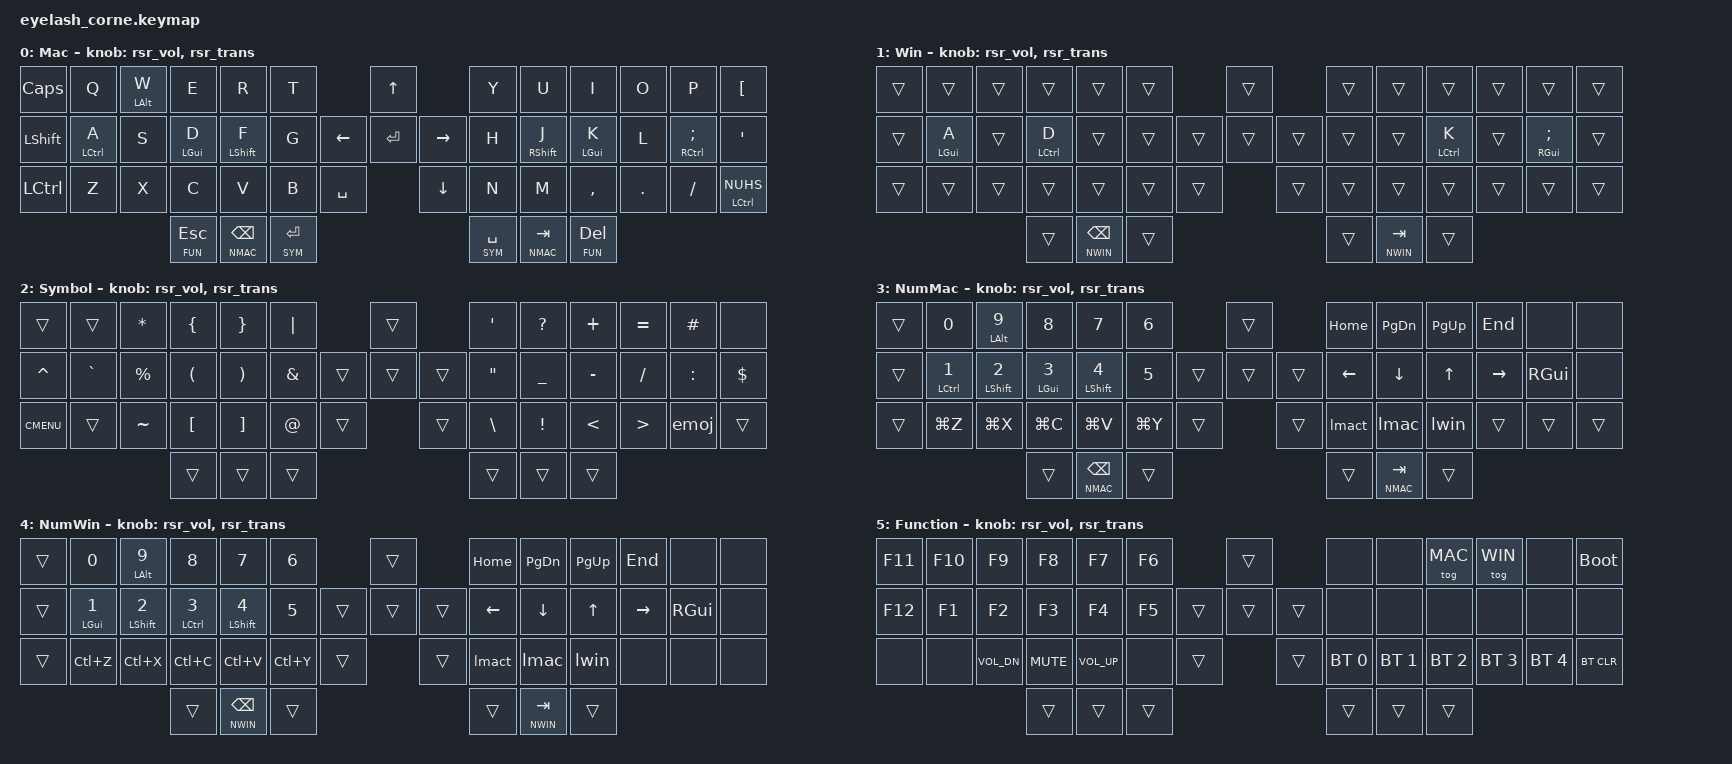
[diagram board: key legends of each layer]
#define ZMK_POINTING_DEFAULT_MOVE_VAL 1200  // 600
#define ZMK_POINTING_DEFAULT_SCRL_VAL 25   // 10

#include <input/processors.dtsi>
#include <zephyr/dt-bindings/input/input-event-codes.h>
#include <behaviors.dtsi>
#include <behaviors/runtime-sensor-rotate.dtsi>
#include <dt-bindings/zmk/bt.h>
#include <dt-bindings/zmk/keys.h>
#include <dt-bindings/zmk/outputs.h>
#include <dt-bindings/zmk/pointing.h>
#include <dt-bindings/zmk/rgb.h>

// Layer definition
#define MAC    0
#define WIN    1
#define SYM    2
#define NMAC   3
#define NWIN   4
#define FUN    5

&soft_off { hold-time-ms = <2000>; };

// Global override for the built-in layer-tap (&lt) behavior
&lt {
    flavor = "balanced";
    tapping-term-ms = <200>;
    quick-tap-ms = <175>;
    require-prior-idle-ms = <150>;
};

/ {
    behaviors {
        td0: td0 {
            compatible = "zmk,behavior-tap-dance";
            display-name = "Shift/Caps Lock Tap Dance";
            #binding-cells = <0>;
            bindings = <&kp LEFT_SHIFT>, <&kp CAPS>;
        };

        rsr_vol: rsr_vol {
            compatible = "zmk,behavior-runtime-sensor-rotate";
            #sensor-binding-cells = <0>;
            tap-ms = <5>;
            cw-binding = <&kp C_VOL_UP>;
            ccw-binding = <&kp C_VOL_DN>;
        };

        rsr_trans: rsr_trans {
            compatible = "zmk,behavior-runtime-sensor-rotate";
            #sensor-binding-cells = <0>;
            tap-ms = <0>;
        };

        hml: home_row_mod_left {
            compatible = "zmk,behavior-hold-tap";
            #binding-cells = <2>;
            flavor = "balanced";
            require-prior-idle-ms = <150>;
            tapping-term-ms = <200>;
            quick-tap-ms = <175>;
            bindings = <&kp>, <&kp>;
            hold-trigger-key-positions = <7 8 9 10 11 12   22 23 24 25 26 27   36 37 38 39 40 41   43 44   45 46 47>; // keys on the right side of the keyboard + BKSP (43) and RET (44) keys
            hold-trigger-on-release;
        };

        hmr: home_row_mod_right {
            compatible = "zmk,behavior-hold-tap";
            #binding-cells = <2>;
            flavor = "balanced";
            require-prior-idle-ms = <150>;
            tapping-term-ms = <200>;
            quick-tap-ms = <175>;
            bindings = <&kp>, <&kp>;
            hold-trigger-key-positions = <0 1 2 3 4 5   13 14 15 16 17 18   28 29 30 31 32 33   42 43 44>; // keys on the left side of the keyboard
            hold-trigger-on-release;
        };

        ltsp: layer_tap_space {
            compatible = "zmk,behavior-hold-tap";
            #binding-cells = <2>;
            flavor = "balanced";
            tapping-term-ms = <175>;
            quick-tap-ms = <175>;
            require-prior-idle-ms = <120>;
            bindings = <&mo>, <&kp>;
        };
    };

// ┌──────────────┬──────────────┬──────────────┬──────────────┬──────────────┬──────────────┐                                           ┌──────────────┬──────────────┬──────────────┬──────────────┬──────────────┬──────────────┐
// │       0      │       1      │       2      │       3      │       4      │       5      │                    6                      │       7      │       8      │       9      │      10      │      11      │      12      │
// ├──────────────┼──────────────┼──────────────┼──────────────┼──────────────┼──────────────┤                                           ├──────────────┼──────────────┼──────────────┼──────────────┼──────────────┼──────────────┤
// │      13      │      14      │      15      │      16      │      17      │      18      │              19   20   21                 │      22      │      23      │      24      │      25      │      26      │      27      │
// ├──────────────┼──────────────┼──────────────┼──────────────┼──────────────┼──────────────┤                                           ├──────────────┼──────────────┼──────────────┼──────────────┼──────────────┼──────────────┤
// │      28      │      29      │      30      │      31      │      32      │      33      │        34         35                      │      36      │      37      │      38      │      39      │      40      │      41      │
// └──────────────┴──────────────┴──────────────┼──────────────┼──────────────┼──────────────┤                                           ├──────────────┼──────────────┼──────────────┼──────────────┴──────────────┴──────────────┘
//                                              │      42      │      43      │      44      │                                           │      45      │      46      │      47      │
//                                              └──────────────┴──────────────┴──────────────┘                                           └──────────────┴──────────────┴──────────────┘

   combos {
        compatible = "zmk,combos";

        softoff {
            bindings = <&soft_off>;
            key-positions = <1 15 29>;  // Q + S + Z
        };
    };

    macros {
        lwin: lang_win {
            compatible = "zmk,behavior-macro";
            #binding-cells = <0>;
            wait-ms = <10>;
            bindings
                = <&macro_press &kp LSHFT>
                , <&macro_press &kp LALT>
                , <&macro_wait_time 200>
                , <&macro_release &kp LSHFT>
                , <&macro_release &kp LALT>
                ;
        };

        lmac: lang_mac {
            compatible = "zmk,behavior-macro";
            #binding-cells = <0>;
            wait-ms = <10>;
            bindings
                = <&macro_press &kp LGUI>
                , <&macro_press &kp LALT>
                , <&macro_press &kp SPACE>
                , <&macro_wait_time 100>
                , <&macro_release &kp LGUI>
                , <&macro_release &kp LALT>
                , <&macro_release &kp SPACE>
                ;
        };

        lmact: lang_mac_term {
            compatible = "zmk,behavior-macro";
            #binding-cells = <0>;
            wait-ms = <10>;
            bindings
                = <&macro_press &kp LCTRL>
                , <&macro_press &kp LALT>
                , <&macro_press &kp SPACE>
                , <&macro_wait_time 100>
                , <&macro_release &kp LCTRL>
                , <&macro_release &kp LALT>
                , <&macro_release &kp SPACE>
                ;
        };

        emoj: emoji_mac {
            compatible = "zmk,behavior-macro";
            #binding-cells = <0>;
            wait-ms = <10>;
            bindings
                = <&macro_press &kp LGUI>
                , <&macro_press &kp LCTRL>
                , <&macro_press &kp SPACE>
                , <&macro_wait_time 100>
                , <&macro_release &kp LGUI>
                , <&macro_release &kp LCTRL>
                , <&macro_release &kp SPACE>
                ;
        };
    };

    keymap {
        compatible = "zmk,keymap";

        default_layer { // 0: MAC
            display-name = "Mac";
            bindings = <
// ┌──────────────┬──────────────┬──────────────┬──────────────┬──────────────┬──────────────┐                                           ┌──────────────┬──────────────┬──────────────┬──────────────┬──────────────┬──────────────┐
// │     Caps     │       Q      │    W (Alt)   │       E      │       R      │       T      │                                           │       Y      │       U      │       I      │       O      │       P      │       [      │
// └──────────────┴──────────────┴──────────────┴──────────────┴──────────────┴──────────────┘                                           └──────────────┴──────────────┴──────────────┴──────────────┴──────────────┴──────────────┘
      &kp CAPS         &kp Q       &hml LALT W        &kp E          &kp R          &kp T                      &kp UP                          &kp Y          &kp U          &kp I          &kp O          &kp P        &kp LBKT
// ┌──────────────┬──────────────┬──────────────┬──────────────┬──────────────┬──────────────┐                                           ┌──────────────┬──────────────┬──────────────┬──────────────┬──────────────┬──────────────┐
// │    LShift    │   A (LCtrl)  │       S      │   D (LGui)   │  F (LShift)  │       G      │                                           │       H      │  J (RShift)  │   K (LGui)   │       L      │   ; (RCtrl)  │       '      │
// └──────────────┴──────────────┴──────────────┴──────────────┴──────────────┴──────────────┘                                           └──────────────┴──────────────┴──────────────┴──────────────┴──────────────┴──────────────┘
      &kp LSHFT    &hml LCTRL A        &kp S      &hml LGUI D    &hml LSHFT F       &kp G            &kp LEFT  &kp ENTER  &kp RIGHT            &kp H      &hmr RSHFT J   &hmr LGUI K        &kp L    &hmr RCTRL SEMI     &kp SQT
// ┌──────────────┬──────────────┬──────────────┬──────────────┬──────────────┬──────────────┐                                           ┌──────────────┬──────────────┬──────────────┬──────────────┬──────────────┬──────────────┐
// │    LCtrl     │       Z      │       X      │       C      │       V      │       B      │                                           │       N      │       M      │       ,      │       .      │       /      │   # (Ctrl)   │
// └──────────────┴──────────────┴──────────────┴──────────────┴──────────────┴──────────────┘                                           └──────────────┴──────────────┴──────────────┴──────────────┴──────────────┴──────────────┘
      &kp LCTRL        &kp Z           &kp X          &kp C          &kp V          &kp B        &kp SPACE     &kp DOWN                        &kp N          &kp M        &kp COMMA       &kp DOT        &kp FSLH   &mt LCTRL NUHS
//                                              ┌──────────────┬──────────────┬──────────────┐                                           ┌──────────────┬──────────────┬──────────────┐
//                                              │  Esc (FUN)   │  Bksp (NMAC) │  Enter (SYM) │                                           │  Space (SYM) │  Tab (NMAC)  │   Del (FUN)  │
//                                              └──────────────┴──────────────┴──────────────┘                                           └──────────────┴──────────────┴──────────────┘
                                                  &lt FUN ESC   &lt NMAC BSPC    &lt SYM RET                                             &ltsp SYM SPACE  &lt NMAC TAB    &lt FUN DEL
            >;
            sensor-bindings = <&rsr_vol &rsr_trans>;
        };

        win_layer { // 1: WIN
            display-name = "Win";
            bindings = <
// ┌──────────────┬──────────────┬──────────────┬──────────────┬──────────────┬──────────────┐                                           ┌──────────────┬──────────────┬──────────────┬──────────────┬──────────────┬──────────────┐
// │       ⌄      │       ⌄      │       ⌄      │       ⌄      │       ⌄      │       ⌄      │                                           │       ⌄      │       ⌄      │       ⌄      │       ⌄      │       ⌄      │       ⌄      │
// └──────────────┴──────────────┴──────────────┴──────────────┴──────────────┴──────────────┘                                           └──────────────┴──────────────┴──────────────┴──────────────┴──────────────┴──────────────┘
        &trans         &trans         &trans         &trans         &trans         &trans                      &trans                         &trans         &trans         &trans         &trans         &trans         &trans
// ┌──────────────┬──────────────┬──────────────┬──────────────┬──────────────┬──────────────┐                                           ┌──────────────┬──────────────┬──────────────┬──────────────┬──────────────┬──────────────┐
// │       ⌄      │   A (LGui)   │       ⌄      │  D (LCtrl)   │       ⌄      │       ⌄      │                                           │       ⌄      │       ⌄      │  K (LCtrl)   │       ⌄      │   ; (RGui)   │       ⌄      │
// └──────────────┴──────────────┴──────────────┴──────────────┴──────────────┴──────────────┘                                           └──────────────┴──────────────┴──────────────┴──────────────┴──────────────┴──────────────┘
        &trans      &hml LGUI A       &trans      &hml LCTRL D      &trans         &trans             &trans   &trans   &trans                &trans         &trans      &hmr LCTRL K      &trans     &hmr RGUI SEMI     &trans
// ┌──────────────┬──────────────┬──────────────┬──────────────┬──────────────┬──────────────┐                                           ┌──────────────┬──────────────┬──────────────┬──────────────┬──────────────┬──────────────┐
// │       ⌄      │       ⌄      │       ⌄      │       ⌄      │       ⌄      │       ⌄      │                                           │       ⌄      │       ⌄      │       ⌄      │       ⌄      │       ⌄      │       ⌄      │
// └──────────────┴──────────────┴──────────────┴──────────────┴──────────────┴──────────────┘                                           └──────────────┴──────────────┴──────────────┴──────────────┴──────────────┴──────────────┘
        &trans         &trans         &trans         &trans         &trans         &trans        &trans        &trans                         &trans         &trans         &trans         &trans         &trans         &trans
//                                              ┌──────────────┬──────────────┬──────────────┐                                           ┌──────────────┬──────────────┬──────────────┐
//                                              │       ⌄      │  Bksp (NWIN) │       ⌄      │                                           │       ⌄      │   Tab (NWIN) │       ⌄      │
//                                              └──────────────┴──────────────┴──────────────┘                                           └──────────────┴──────────────┴──────────────┘
                                                     &trans     &lt NWIN BSPC      &trans                                                     &trans      &lt NWIN TAB      &trans
            >;
            sensor-bindings = <&rsr_vol &rsr_trans>;
        };

        symbol_layer { // 2: SYM
            display-name = "Symbol";
            bindings = <
// ┌──────────────┬──────────────┬──────────────┬──────────────┬──────────────┬──────────────┐                                           ┌──────────────┬──────────────┬──────────────┬──────────────┬──────────────┬──────────────┐
// │       ⌄      │       ⌄      │       *      │       {      │       }      │       |      │                                           │       '      │       ?      │       +      │       =      │       #      │    (none)    │
// └──────────────┴──────────────┴──────────────┴──────────────┴──────────────┴──────────────┘                                           └──────────────┴──────────────┴──────────────┴──────────────┴──────────────┴──────────────┘
        &trans         &trans        &kp STAR       &kp LBRC       &kp RBRC       &kp PIPE                      &trans                        &kp SQT      &kp QMARK       &kp PLUS       &kp EQUAL      &kp POUND        &none
// ┌──────────────┬──────────────┬──────────────┬──────────────┬──────────────┬──────────────┐                                           ┌──────────────┬──────────────┬──────────────┬──────────────┬──────────────┬──────────────┐
// │       ^      │       `      │       %      │       (      │       )      │       &      │                                           │       "      │       _      │       -      │       /      │       :      │       $      │
// └──────────────┴──────────────┴──────────────┴──────────────┴──────────────┴──────────────┘                                           └──────────────┴──────────────┴──────────────┴──────────────┴──────────────┴──────────────┘
       &kp CARET     &kp GRAVE      &kp PRCNT       &kp LPAR       &kp RPAR       &kp AMPS            &trans   &trans   &trans               &kp DQT      &kp UNDER       &kp MINUS      &kp FSLH       &kp COLON      &kp DLLR
// ┌──────────────┬──────────────┬──────────────┬──────────────┬──────────────┬──────────────┐                                           ┌──────────────┬──────────────┬──────────────┬──────────────┬──────────────┬──────────────┐
// │     menu     │       ⌄      │       ~      │       [      │       ]      │       @      │                                           │       \      │       !      │       <      │       >      │    (emoji)   │       ⌄      │
// └──────────────┴──────────────┴──────────────┴──────────────┴──────────────┴──────────────┘                                           └──────────────┴──────────────┴──────────────┴──────────────┴──────────────┴──────────────┘
     &kp K_CMENU       &trans       &kp TILDE       &kp LBKT       &kp RBKT        &kp AT        &trans        &trans                        &kp BSLH       &kp EXCL        &kp LT         &kp GT          &emoj         &trans
//                                              ┌──────────────┬──────────────┬──────────────┐                                           ┌──────────────┬──────────────┬──────────────┐
//                                              │       ⌄      │       ⌄      │       ⌄      │                                           │       ⌄      │       ⌄      │       ⌄      │
//                                              └──────────────┴──────────────┴──────────────┘                                           └──────────────┴──────────────┴──────────────┘
                                                     &trans         &trans         &trans                                                     &trans         &trans         &trans
            >;
            sensor-bindings = <&rsr_vol &rsr_trans>;
        };

        num_mac_layer { // 3: NMAC
            display-name = "NumMac";
            bindings = <
// ┌──────────────┬──────────────┬──────────────┬──────────────┬──────────────┬──────────────┐                                           ┌──────────────┬──────────────┬──────────────┬──────────────┬──────────────┬──────────────┐
// │       ⌄      │       0      │       9      │       8      │       7      │       6      │                                           │     home     │   page down  │    page up   │      end     │    (none)    │    (none)    │
// └──────────────┴──────────────┴──────────────┴──────────────┴──────────────┴──────────────┘                                           └──────────────┴──────────────┴──────────────┴──────────────┴──────────────┴──────────────┘
        &trans         &kp N0      &mt LALT N9       &kp N8         &kp N7         &kp N6                      &trans                        &kp HOME      &kp PG_DN      &kp PG_UP        &kp END         &none          &none
// ┌──────────────┬──────────────┬──────────────┬──────────────┬──────────────┬──────────────┐                                           ┌──────────────┬──────────────┬──────────────┬──────────────┬──────────────┬──────────────┐
// │       ⌄      │       1      │       2      │       3      │       4      │       5      │                                           │     left     │      down    │      up      │     right    │     RGui     │    (none)    │
// └──────────────┴──────────────┴──────────────┴──────────────┴──────────────┴──────────────┘                                           └──────────────┴──────────────┴──────────────┴──────────────┴──────────────┴──────────────┘
        &trans      &mt LCTRL N1   &mt LSHFT N2   &mt LGUI N3    &mt LSHFT N4      &kp N5              &trans   &trans   &trans               &kp LEFT      &kp DOWN        &kp UP        &kp RIGHT      &kp RGUI         &none
// ┌──────────────┬──────────────┬──────────────┬──────────────┬──────────────┬──────────────┐                                           ┌──────────────┬──────────────┬──────────────┬──────────────┬──────────────┬──────────────┐
// │       ⌄      │     undo     │      cut     │     copy     │     paste    │     redo     │                                           │ lang mac ter │   lang mac   │   lang win   │    (none)    │    (none)    │    (none)    │
// └──────────────┴──────────────┴──────────────┴──────────────┴──────────────┴──────────────┘                                           └──────────────┴──────────────┴──────────────┴──────────────┴──────────────┴──────────────┘
        &trans        &kp LG(Z)      &kp LG(X)      &kp LG(C)      &kp LG(V)      &kp LG(Y)      &trans        &trans                         &lmact          &lmac          &lwin         &trans         &trans         &trans
//                                              ┌──────────────┬──────────────┬──────────────┐                                           ┌──────────────┬──────────────┬──────────────┐
//                                              │       ⌄      │  Bksp (NMAC) │       ⌄      │                                           │       ⌄      │  Tab (NMAC)  │       ⌄      │
//                                              └──────────────┴──────────────┴──────────────┘                                           └──────────────┴──────────────┴──────────────┘
                                                     &trans     &lt NMAC BSPC      &trans                                                     &trans      &lt NMAC TAB      &trans
            >;
            sensor-bindings = <&rsr_vol &rsr_trans>;
        };

        num_win_layer { // 4: NWIN
            display-name = "NumWin";
            bindings = <
// ┌──────────────┬──────────────┬──────────────┬──────────────┬──────────────┬──────────────┐                                           ┌──────────────┬──────────────┬──────────────┬──────────────┬──────────────┬──────────────┐
// │       ⌄      │       0      │       9      │       8      │       7      │       6      │                                           │     home     │   page down  │    page up   │      end     │    (none)    │    (none)    │
// └──────────────┴──────────────┴──────────────┴──────────────┴──────────────┴──────────────┘                                           └──────────────┴──────────────┴──────────────┴──────────────┴──────────────┴──────────────┘
        &trans         &kp N0      &mt LALT N9       &kp N8         &kp N7         &kp N6                      &trans                        &kp HOME      &kp PG_DN      &kp PG_UP        &kp END         &none          &none
// ┌──────────────┬──────────────┬──────────────┬──────────────┬──────────────┬──────────────┐                                           ┌──────────────┬──────────────┬──────────────┬──────────────┬──────────────┬──────────────┐
// │       ⌄      │       1      │       2      │       3      │       4      │       5      │                                           │     left     │      down    │      up      │     right    │     RGui     │    (none)    │
// └──────────────┴──────────────┴──────────────┴──────────────┴──────────────┴──────────────┘                                           └──────────────┴──────────────┴──────────────┴──────────────┴──────────────┴──────────────┘
        &trans      &mt LGUI N1   &mt LSHFT N2   &mt LCTRL N3    &mt LSHFT N4      &kp N5              &trans   &trans   &trans               &kp LEFT      &kp DOWN        &kp UP        &kp RIGHT      &kp RGUI         &none
// ┌──────────────┬──────────────┬──────────────┬──────────────┬──────────────┬──────────────┐                                           ┌──────────────┬──────────────┬──────────────┬──────────────┬──────────────┬──────────────┐
// │       ⌄      │     undo     │      cut     │     copy     │     paste    │     redo     │                                           │ lang mac ter │   lang mac   │   lang win   │    (none)    │    (none)    │    (none)    │
// └──────────────┴──────────────┴──────────────┴──────────────┴──────────────┴──────────────┘                                           └──────────────┴──────────────┴──────────────┴──────────────┴──────────────┴──────────────┘
        &trans        &kp LC(Z)      &kp LC(X)      &kp LC(C)      &kp LC(V)      &kp LC(Y)      &trans        &trans                         &lmact          &lmac          &lwin          &none          &none          &none
//                                              ┌──────────────┬──────────────┬──────────────┐                                           ┌──────────────┬──────────────┬──────────────┐
//                                              │       ⌄      │  Bksp (NWIN) │       ⌄      │                                           │       ⌄      │   Tab (NWIN) │       ⌄      │
//                                              └──────────────┴──────────────┴──────────────┘                                           └──────────────┴──────────────┴──────────────┘
                                                     &trans     &lt NWIN BSPC      &trans                                                     &trans      &lt NWIN TAB      &trans
            >;
            sensor-bindings = <&rsr_vol &rsr_trans>;
        };

        function_layer { // 5: FUN
            display-name = "Function";
            bindings = <
// ┌──────────────┬──────────────┬──────────────┬──────────────┬──────────────┬──────────────┐                                           ┌──────────────┬──────────────┬──────────────┬──────────────┬──────────────┬──────────────┐
// │      F11     │      F10     │      F9      │      F8      │      F7      │      F6      │                                           │    (none)    │    (none)    │  Mac layout  │  Win layout  │    (none)    │  bootloader  │
// └──────────────┴──────────────┴──────────────┴──────────────┴──────────────┴──────────────┘                                           └──────────────┴──────────────┴──────────────┴──────────────┴──────────────┴──────────────┘
        &kp F11       &kp F10         &kp F9         &kp F8         &kp F7         &kp F6                      &trans                          &none          &none        &tog MAC       &tog WIN         &none       &bootloader
// ┌──────────────┬──────────────┬──────────────┬──────────────┬──────────────┬──────────────┐                                           ┌──────────────┬──────────────┬──────────────┬──────────────┬──────────────┬──────────────┐
// │      F12     │      F1      │      F2      │      F3      │      F4      │      F5      │                                           │    (none)    │    (none)    │    (none)    │    (none)    │    (none)    │    (none)    │
// └──────────────┴──────────────┴──────────────┴──────────────┴──────────────┴──────────────┘                                           └──────────────┴──────────────┴──────────────┴──────────────┴──────────────┴──────────────┘
        &kp F12        &kp F1         &kp F2         &kp F3         &kp F4         &kp F5              &trans   &trans   &trans                &none          &none          &none          &none          &none          &none
// ┌──────────────┬──────────────┬──────────────┬──────────────┬──────────────┬──────────────┐                                           ┌──────────────┬──────────────┬──────────────┬──────────────┬──────────────┬──────────────┐
// │    (none)    │    (none)    │     vol -    │     mute     │     vol +    │    (none)    │                                           │     BT 0     │     BT 1     │     BT 2     │     BT 3     │     BT 4     │   BT clear   │
// └──────────────┴──────────────┴──────────────┴──────────────┴──────────────┴──────────────┘                                           └──────────────┴──────────────┴──────────────┴──────────────┴──────────────┴──────────────┘
        &none          &none      &kp C_VOL_DN     &kp C_MUTE    &kp C_VOL_UP       &none        &trans        &trans                      &bt BT_SEL 0   &bt BT_SEL 1   &bt BT_SEL 2   &bt BT_SEL 3   &bt BT_SEL 4    &bt BT_CLR
//                                              ┌──────────────┬──────────────┬──────────────┐                                           ┌──────────────┬──────────────┬──────────────┐
//                                              │       ⌄      │       ⌄      │       ⌄      │                                           │       ⌄      │       ⌄      │       ⌄      │
//                                              └──────────────┴──────────────┴──────────────┘                                           └──────────────┴──────────────┴──────────────┘
                                                     &trans         &trans         &trans                                                     &trans         &trans         &trans
            >;
            sensor-bindings = <&rsr_vol &rsr_trans>;
        };
    };
};
